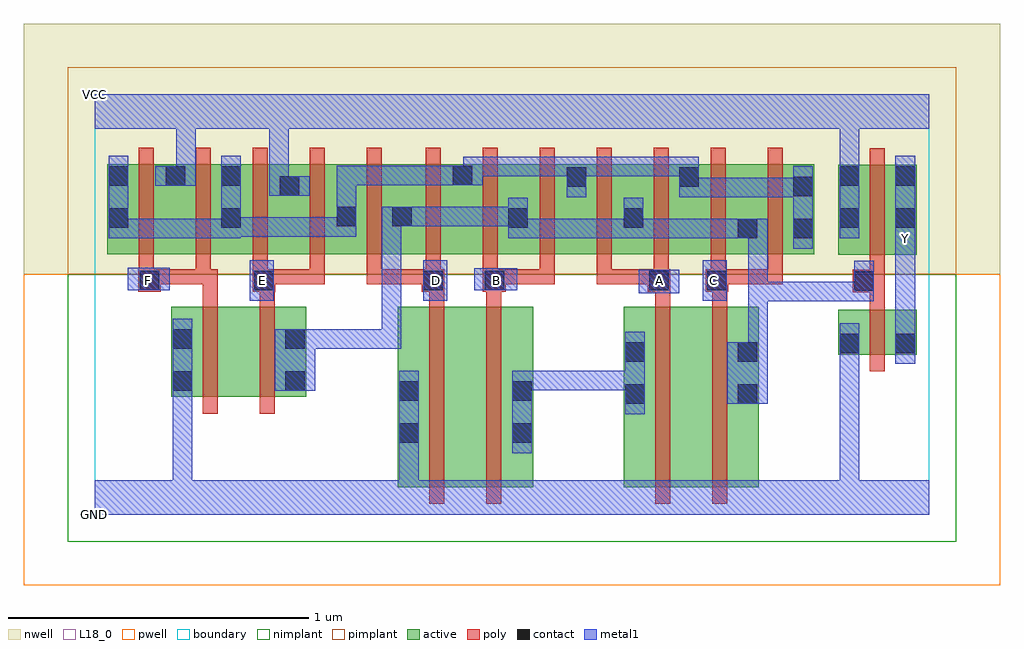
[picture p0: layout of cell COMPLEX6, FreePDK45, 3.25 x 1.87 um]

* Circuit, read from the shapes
.subckt COMPLEX6 A B C D E F GND VCC Y
M1 n1 F GND VSUBS nfet w=0.3u l=0.05u
M2 n2 E n1 VSUBS nfet w=0.3u l=0.05u
M3 n3 D GND VSUBS nfet w=0.6u l=0.05u
M4 n4 B n3 VSUBS nfet w=0.6u l=0.05u
M5 n5 A n4 VSUBS nfet w=0.6u l=0.05u
M6 n2 C n5 VSUBS nfet w=0.6u l=0.05u
M7 Y n2 GND VSUBS nfet w=0.15u l=0.05u
M8 VCC F n6 n7 pfet w=0.3u l=0.05u m=2
M9 VCC E n6 n7 pfet w=0.3u l=0.05u m=2
M10 n2 D n6 n7 pfet w=0.3u l=0.05u m=2
M11 n2 B n6 n7 pfet w=0.3u l=0.05u m=2
M12 n2 A n6 n7 pfet w=0.3u l=0.05u m=2
M13 n2 C n6 n7 pfet w=0.3u l=0.05u m=2
M14 Y n2 VCC n7 pfet w=0.3u l=0.05u
.ends

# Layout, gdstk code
import gdstk
lib = gdstk.Library(unit=1e-6, precision=1e-09)
def R(c, l, rs):  # rectangles x0, y0, x1, y1
    for r in rs: c.add(gdstk.rectangle(r[:2], r[2:], *l))
def A(c, l, x, y, w, h, nx, ny, dx, dy):  # array of equal rectangles
    R(c, l, [(x+i*dx, y+j*dy, x+i*dx+w, y+j*dy+h) for i in range(nx) for j in range(ny)])
active = (1, 0)
pwell = (2, 0)
nwell = (3, 0)
nimplant = (4, 0)
pimplant = (5, 0)
poly = (9, 0)
contact = (10, 0)
metal1 = (11, 0)
L18_0 = (18, 0)
boundary = (235, 0)

complex6 = lib.new_cell('COMPLEX6')
R(complex6, active, [(1.01,0.092,1.235,0.692), (1.235,0.092,1.46,0.692), (1.762,0.092,1.987,0.692), (1.987,0.092,2.212,0.692), (1.01,0.145,1.085,0.692), (1.385,0.145,1.46,0.692), (1.762,0.145,1.867,0.692), (2.137,0.145,2.212,0.692), (0.255,0.392,0.33,0.692), (0.255,0.392,0.48,0.692), (0.48,0.392,0.705,0.692), (0.63,0.392,0.705,0.692), (2.477,0.532,2.552,0.682), (2.477,0.532,2.737,0.682), (2.662,0.532,2.737,0.682), (2.477,0.865,2.552,1.165), (2.477,0.865,2.737,1.165), (2.662,0.865,2.737,1.165), (0.042,0.867,0.117,1.167), (0.042,0.867,0.307,1.167), (0.232,0.867,0.307,1.167), (0.232,0.867,0.492,1.167), (0.417,0.867,0.492,1.167), (0.417,0.867,0.687,1.167), (0.612,0.867,0.687,1.167), (0.612,0.867,0.877,1.167), (0.802,0.867,0.877,1.167), (0.802,0.867,1.062,1.167), (0.987,0.867,1.262,1.167), (1.187,0.867,1.447,1.167), (1.372,0.867,1.642,1.167), (1.567,0.867,1.642,1.167), (1.567,0.867,1.832,1.167), (1.757,0.867,2.017,1.167), (1.942,0.867,2.212,1.167), (2.137,0.867,2.397,1.167), (2.322,0.867,2.397,1.167), (2.137,0.915,2.212,1.07), (1.372,0.95,1.447,1.07), (1.757,0.95,1.832,1.07), (0.987,0.955,1.062,1.07), (1.187,0.995,1.262,1.167), (1.942,0.995,2.017,1.167)])
R(complex6, pwell, [(-0.235,-0.235,3.015,0.8)])
R(complex6, nwell, [(-0.235,0.8,3.015,1.635)])
R(complex6, nimplant, [(-0.09,-0.09,2.87,0.8)])
R(complex6, pimplant, [(-0.09,0.8,2.87,1.49)])
A(complex6, poly, 0.147, 0.767, 0.05, 0.095, 5, 1, 0.19, 0)
A(complex6, poly, 1.102, 0.767, 0.05, 0.095, 7, 1, 0.19, 0)
A(complex6, poly, 0.147, 0.812, 0.05, 0.41, 5, 1, 0.19, 0)
A(complex6, poly, 1.102, 0.812, 0.05, 0.41, 7, 1, 0.19, 0)
R(complex6, poly, [(1.115,0.037,1.165,0.747), (1.305,0.037,1.355,0.747), (1.867,0.037,1.917,0.747), (2.057,0.037,2.107,0.747), (0.36,0.337,0.41,0.747), (0.55,0.337,0.6,0.747), (2.582,0.477,2.632,0.737), (2.582,0.687,2.632,0.79), (0.36,0.697,0.41,0.817), (0.55,0.697,0.6,0.792), (1.115,0.697,1.165,0.792), (1.305,0.697,1.355,0.792), (1.867,0.697,1.917,0.792), (2.057,0.697,2.107,0.792), (2.525,0.74,2.632,0.815), (0.145,0.742,0.22,0.817), (0.527,0.742,0.602,0.817), (1.09,0.742,1.165,0.817), (1.292,0.742,1.37,0.817), (1.842,0.742,1.917,0.817), (2.035,0.742,2.11,0.817), (2.582,0.765,2.632,0.86), (0.17,0.767,0.387,0.817), (0.337,0.767,0.387,0.817), (0.337,0.767,0.387,0.817), (0.337,0.767,0.41,0.817), (0.552,0.767,0.767,0.817), (0.717,0.767,0.767,0.817), (0.717,0.767,0.767,0.817), (0.717,0.767,0.767,0.817), (0.907,0.767,0.957,0.817), (0.907,0.767,0.957,0.817), (0.907,0.767,0.957,0.817), (0.907,0.767,1.14,0.817), (1.32,0.767,1.532,0.817), (1.482,0.767,1.532,0.817), (1.482,0.767,1.532,0.817), (1.482,0.767,1.532,0.817), (1.672,0.767,1.722,0.817), (1.672,0.767,1.722,0.817), (1.672,0.767,1.722,0.817), (1.672,0.767,1.892,0.817), (2.06,0.767,2.292,0.817), (2.242,0.767,2.292,0.817), (2.242,0.767,2.292,0.817), (2.242,0.767,2.292,0.817), (2.582,0.81,2.632,1.22)])
R(complex6, contact, [(1.015,0.24,1.08,0.305), (1.39,0.24,1.455,0.305), (1.767,0.37,1.832,0.435), (2.142,0.37,2.207,0.435), (1.015,0.38,1.08,0.445), (1.39,0.38,1.455,0.445), (0.26,0.412,0.325,0.477), (0.635,0.412,0.7,0.477), (1.767,0.51,1.832,0.575), (2.142,0.51,2.207,0.575), (2.482,0.537,2.547,0.602), (2.667,0.537,2.732,0.602), (0.26,0.552,0.325,0.617), (0.635,0.552,0.7,0.617), (2.53,0.745,2.595,0.81), (0.15,0.747,0.215,0.812), (0.532,0.747,0.597,0.812), (1.095,0.747,1.16,0.812), (1.3,0.747,1.365,0.812), (1.847,0.747,1.912,0.812), (2.04,0.747,2.105,0.812), (2.142,0.92,2.207,0.985), (2.327,0.92,2.392,0.985), (0.047,0.955,0.112,1.02), (0.422,0.955,0.487,1.02), (1.377,0.955,1.442,1.02), (1.762,0.955,1.827,1.02), (2.482,0.955,2.547,1.02), (2.667,0.955,2.732,1.02), (0.807,0.96,0.872,1.025), (0.992,0.96,1.057,1.025), (2.327,1.06,2.392,1.125), (0.617,1.062,0.682,1.127), (1.572,1.092,1.637,1.157), (1.947,1.092,2.012,1.157), (0.047,1.095,0.112,1.16), (0.237,1.095,0.302,1.16), (0.422,1.095,0.487,1.16), (2.482,1.095,2.547,1.16), (2.667,1.095,2.732,1.16), (1.192,1.097,1.257,1.162)])
R(complex6, metal1, [(0,0,2.78,0.115), (0.26,0.05,0.325,0.115), (0.26,0.05,0.325,0.115), (0.26,0.05,0.325,0.115), (0.26,0.05,0.325,0.115), (0.26,0.05,0.325,0.115), (0.26,0.05,0.325,0.115), (0.26,0.05,0.325,0.442), (1.015,0.05,1.08,0.115), (1.015,0.05,1.08,0.115), (1.015,0.05,1.08,0.27), (2.482,0.05,2.547,0.115), (2.482,0.05,2.547,0.115), (2.482,0.05,2.547,0.115), (2.482,0.05,2.547,0.115), (2.482,0.05,2.547,0.567), (1.015,0.205,1.08,0.48), (1.39,0.205,1.455,0.48), (1.767,0.335,1.832,0.61), (2.107,0.37,2.242,0.575), (0.26,0.377,0.325,0.652), (0.6,0.412,0.735,0.617), (1.39,0.415,1.5,0.48), (1.435,0.415,1.5,0.48), (1.435,0.415,1.637,0.48), (1.572,0.415,1.637,0.48), (1.572,0.415,1.637,0.48), (1.572,0.415,1.637,0.48), (1.572,0.415,1.832,0.48), (2.482,0.502,2.547,0.567), (2.482,0.502,2.547,0.567), (2.482,0.502,2.547,0.567), (2.482,0.502,2.547,0.567), (2.482,0.502,2.547,0.637), (2.667,0.502,2.732,0.637), (2.177,0.51,2.242,0.775), (0.67,0.552,0.735,0.617), (0.67,0.552,0.735,0.617), (0.67,0.552,0.735,0.617), (0.67,0.552,0.735,0.617), (0.67,0.552,0.872,0.617), (0.807,0.552,0.872,0.617), (0.807,0.552,0.872,0.617), (0.807,0.552,0.872,0.617), (0.807,0.552,1.022,0.617), (0.957,0.552,1.022,0.617), (0.957,0.552,1.022,1.025), (2.667,0.572,2.732,0.917), (2.177,0.71,2.242,0.775), (2.177,0.71,2.242,0.775), (2.177,0.71,2.242,0.775), (2.177,0.71,2.242,0.985), (2.177,0.71,2.457,0.775), (2.392,0.71,2.457,0.775), (2.392,0.71,2.457,0.775), (2.392,0.71,2.457,0.775), (2.392,0.71,2.595,0.775), (2.53,0.71,2.595,0.845), (0.517,0.712,0.597,0.847), (1.095,0.712,1.175,0.847), (2.025,0.712,2.105,0.847), (1.812,0.737,1.947,0.815), (0.11,0.747,0.25,0.822), (1.265,0.747,1.407,0.82), (2.667,0.852,2.732,0.987), (2.327,0.885,2.392,1.16), (0.047,0.92,0.112,0.985), (0.047,0.92,0.112,0.985), (0.047,0.92,0.112,1.195), (0.047,0.92,0.25,0.985), (0.185,0.92,0.25,0.985), (0.185,0.92,0.25,0.985), (0.185,0.92,0.25,0.985), (0.185,0.92,0.487,0.985), (0.422,0.92,0.487,1.195), (1.377,0.92,1.442,0.985), (1.377,0.92,1.442,0.985), (1.377,0.92,1.442,1.055), (1.377,0.92,1.69,0.985), (1.625,0.92,1.69,0.985), (1.625,0.92,1.69,0.985), (1.625,0.92,1.69,0.985), (1.625,0.92,1.827,0.985), (1.762,0.92,1.827,1.055), (1.762,0.92,1.875,0.985), (1.81,0.92,1.875,0.985), (1.81,0.92,2.035,0.985), (1.97,0.92,2.035,0.985), (1.97,0.92,2.035,0.985), (1.97,0.92,2.035,0.985), (1.97,0.92,2.172,0.985), (2.107,0.92,2.242,0.985), (2.482,0.92,2.547,1.195), (2.667,0.92,2.732,1.195), (2.667,0.922,2.732,0.987), (0.422,0.925,0.487,0.99), (0.422,0.925,0.487,0.99), (0.422,0.925,0.735,0.99), (0.67,0.925,0.735,0.99), (0.67,0.925,0.735,0.99), (0.67,0.925,0.735,0.99), (0.67,0.925,0.872,0.99), (0.807,0.925,0.872,1.06), (0.957,0.96,1.092,1.025), (1.027,0.96,1.092,1.025), (1.027,0.96,1.092,1.025), (1.027,0.96,1.305,1.025), (1.24,0.96,1.305,1.025), (1.24,0.96,1.305,1.025), (1.24,0.96,1.305,1.025), (1.24,0.96,1.442,1.025), (0.807,0.995,0.872,1.162), (1.572,1.057,1.637,1.192), (1.947,1.057,2.012,1.122), (1.947,1.057,2.012,1.122), (1.947,1.057,2.012,1.192), (1.947,1.057,2.255,1.122), (2.19,1.057,2.255,1.122), (2.19,1.057,2.255,1.122), (2.19,1.057,2.255,1.122), (2.19,1.057,2.392,1.122), (0.582,1.062,0.647,1.127), (0.582,1.062,0.647,1.127), (0.582,1.062,0.717,1.127), (0.582,1.062,0.647,1.35), (0.202,1.095,0.337,1.16), (0.272,1.095,0.337,1.35), (0.807,1.097,0.872,1.162), (0.807,1.097,0.872,1.162), (0.807,1.097,0.872,1.162), (0.807,1.097,1.085,1.162), (1.02,1.097,1.085,1.162), (1.02,1.097,1.085,1.162), (1.02,1.097,1.085,1.162), (1.02,1.097,1.222,1.162), (1.157,1.097,1.292,1.162), (1.227,1.097,1.292,1.162), (1.227,1.097,1.292,1.192), (1.227,1.127,1.5,1.192), (1.435,1.127,1.5,1.192), (1.435,1.127,1.5,1.192), (1.435,1.127,1.5,1.192), (1.435,1.127,1.637,1.192), (1.572,1.127,1.737,1.192), (1.672,1.127,1.737,1.192), (1.672,1.127,1.875,1.192), (1.81,1.127,1.875,1.192), (1.81,1.127,1.875,1.192), (1.81,1.127,1.875,1.192), (1.81,1.127,2.012,1.192), (2.482,1.13,2.547,1.195), (2.482,1.13,2.547,1.195), (2.482,1.13,2.547,1.35), (0,1.285,2.78,1.4), (0.272,1.285,0.337,1.35), (0.272,1.285,0.337,1.35)])
R(complex6, L18_0, [(0,0,2.78,0.115), (0.26,0.05,0.325,0.115), (0.26,0.05,0.325,0.115), (0.26,0.05,0.325,0.115), (0.26,0.05,0.325,0.115), (0.26,0.05,0.325,0.115), (0.26,0.05,0.325,0.115), (0.26,0.05,0.325,0.442), (1.015,0.05,1.08,0.115), (1.015,0.05,1.08,0.115), (1.015,0.05,1.08,0.27), (2.482,0.05,2.547,0.115), (2.482,0.05,2.547,0.115), (2.482,0.05,2.547,0.115), (2.482,0.05,2.547,0.115), (2.482,0.05,2.547,0.567), (1.015,0.205,1.08,0.48), (0.26,0.377,0.325,0.652), (2.482,0.502,2.547,0.567), (2.482,0.502,2.547,0.567), (2.482,0.502,2.547,0.567), (2.482,0.502,2.547,0.567), (2.482,0.502,2.547,0.637), (2.667,0.502,2.732,0.637), (2.667,0.572,2.732,0.917), (0.517,0.712,0.597,0.847), (1.095,0.712,1.175,0.847), (2.025,0.712,2.105,0.847), (1.812,0.737,1.947,0.815), (0.11,0.747,0.25,0.822), (0.147,0.747,0.212,0.812), (0.527,0.747,0.592,0.812), (1.107,0.747,1.172,0.812), (1.265,0.747,1.407,0.82), (1.307,0.747,1.372,0.812), (1.847,0.747,1.912,0.812), (2.027,0.747,2.092,0.812), (2.667,0.852,2.732,0.987), (2.667,0.887,2.732,0.952), (2.482,0.92,2.547,1.195), (2.667,0.92,2.732,1.195), (2.667,0.922,2.732,0.987), (0.582,1.062,0.647,1.127), (0.582,1.062,0.647,1.127), (0.582,1.062,0.717,1.127), (0.582,1.062,0.647,1.35), (0.202,1.095,0.337,1.16), (0.272,1.095,0.337,1.35), (2.482,1.13,2.547,1.195), (2.482,1.13,2.547,1.195), (2.482,1.13,2.547,1.35), (0,1.285,2.78,1.4), (0.272,1.285,0.337,1.35), (0.272,1.285,0.337,1.35)])
R(complex6, boundary, [(0,0,2.78,1.4)])
complex6.add(gdstk.Label('A', (1.88,0.78), layer=11, texttype=0))
complex6.add(gdstk.Label('B', (1.34,0.78), layer=11, texttype=0))
complex6.add(gdstk.Label('C', (2.06,0.78), layer=11, texttype=0))
complex6.add(gdstk.Label('D', (1.14,0.78), layer=11, texttype=0))
complex6.add(gdstk.Label('E', (0.56,0.78), layer=11, texttype=0))
complex6.add(gdstk.Label('F', (0.18,0.78), layer=11, texttype=0))
complex6.add(gdstk.Label('Y', (2.7,0.92), layer=11, texttype=0))
complex6.add(gdstk.Label('VCC', (0,1.4), layer=11, texttype=0))
complex6.add(gdstk.Label('GND', (0,0), layer=11, texttype=0))

lib.write_gds('COMPLEX6.gds')
